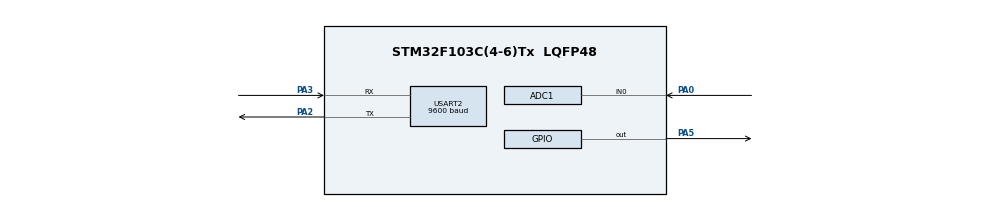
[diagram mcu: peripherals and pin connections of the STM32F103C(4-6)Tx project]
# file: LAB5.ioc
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ADC1.Channel-0\#ChannelRegularConversion=ADC_CHANNEL_0
ADC1.ContinuousConvMode=ENABLE
ADC1.NbrOfConversionFlag=1
ADC1.Rank-0\#ChannelRegularConversion=1
ADC1.SamplingTime-0\#ChannelRegularConversion=ADC_SAMPLETIME_1CYCLE_5
ADC1.master=1
Mcu.Family=STM32F1
Mcu.Name=STM32F103C(4-6)Tx
Mcu.Package=LQFP48
NVIC.PriorityGroup=NVIC_PRIORITYGROUP_4
NVIC.TIM2_IRQn=true\:0\:0\:false\:false\:true\:true\:true
NVIC.USART2_IRQn=true\:0\:0\:false\:false\:true\:true\:true
PA0-WKUP.Signal=ADCx_IN0
PA2.Mode=Asynchronous
PA2.Signal=USART2_TX
PA3.Mode=Asynchronous
PA3.Signal=USART2_RX
PA5.Signal=GPIO_Output
ProjectManager.HeapSize=0x200
ProjectManager.StackSize=0x400
ProjectManager.TargetToolchain=STM32CubeIDE
RCC.APB1Freq_Value=8000000
RCC.APB2Freq_Value=8000000
SH.ADCx_IN0.0=ADC1_IN0,IN0
TIM2.Period=9
TIM2.Prescaler=7999
USART2.BaudRate=9600
USART2.VirtualMode=VM_ASYNC
VP_SYS_VS_ND.Mode=No_Debug
VP_TIM2_VS_ClockSourceINT.Mode=Internal
board=custom

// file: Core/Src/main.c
/* USER CODE BEGIN Header */
/**
 ******************************************************************************
 * @file           : main.c
 * @brief          : Main program body
 ******************************************************************************
 * @attention
 *
 * <h2><center>&copy; Copyright (c) 2021 STMicroelectronics.
 * All rights reserved.</center></h2>
 *
 * This software component is licensed by ST under BSD 3-Clause license,
 * the "License"; You may not use this file except in compliance with the
 * License. You may obtain a copy of the License at:
 *                        opensource.org/licenses/BSD-3-Clause
 *
 ******************************************************************************
 */
/* USER CODE END Header */

/* USER CODE BEGIN Includes */
#include <stdio.h>
#include <stdlib.h>
#include <string.h>
#include "main.h"
#include "timer.h"
#include "command_parser_fsm.h"
#include "uart_communiation_fsm.h"
/* USER CODE END Includes */

ADC_HandleTypeDef hadc1;

TIM_HandleTypeDef htim2;

UART_HandleTypeDef huart2;

void SystemClock_Config(void);
static void MX_GPIO_Init(void);
static void MX_TIM2_Init(void);
static void MX_ADC1_Init(void);
static void MX_USART2_UART_Init(void);

/* USER CODE BEGIN 0 */

uint8_t buffer[MAX_BUFFER_SIZE];
uint8_t index_buffer = 0;
uint8_t buffer_flag = 0;
void HAL_UART_RxCpltCallback(UART_HandleTypeDef *huart) {
	if (huart->Instance == USART2) {
		HAL_UART_Transmit (& huart2 , &temp , 1, 50) ;
		buffer[index_buffer++] = temp;
		if (index_buffer == 30)
			index_buffer = 0;
		buffer_flag = 1;
		HAL_UART_Receive_IT(&huart2, &temp, 1);
	}
}
/* USER CODE END 0 */

int main(void) {

	/* MCU Configuration--------------------------------------------------------*/

	/* Reset of all peripherals, Initializes the Flash interface and the Systick. */
	HAL_Init();

	/* Configure the system clock */
	SystemClock_Config();

	/* Initialize all configured peripherals */
	MX_GPIO_Init();
	MX_TIM2_Init();
	MX_ADC1_Init();
	MX_USART2_UART_Init();
	/* USER CODE BEGIN 2 */
	HAL_TIM_Base_Start_IT(&htim2);
	/* USER CODE END 2 */

	/* Infinite loop */
	/* USER CODE BEGIN WHILE */
	HAL_UART_Receive_IT(&huart2, &temp, 1);
	HAL_ADC_Start(&hadc1);
	setTimerResend(10);
	while (1) {
		/* USER CODE END WHILE */

		/* USER CODE BEGIN 3 */
		if (buffer_flag == 1) {
			command_parser_fsm();
			buffer_flag = 0;
		}
		uart_communiation_fsm();

	}
	/* USER CODE END 3 */
}

void SystemClock_Config(void) {
	RCC_OscInitTypeDef RCC_OscInitStruct = { 0 };
	RCC_ClkInitTypeDef RCC_ClkInitStruct = { 0 };
	RCC_PeriphCLKInitTypeDef PeriphClkInit = { 0 };

	/** Initializes the RCC Oscillators according to the specified parameters
	 * in the RCC_OscInitTypeDef structure.
	 */
	RCC_OscInitStruct.OscillatorType = RCC_OSCILLATORTYPE_HSI;
	RCC_OscInitStruct.HSIState = RCC_HSI_ON;
	RCC_OscInitStruct.HSICalibrationValue = RCC_HSICALIBRATION_DEFAULT;
	RCC_OscInitStruct.PLL.PLLState = RCC_PLL_NONE;
	if (HAL_RCC_OscConfig(&RCC_OscInitStruct) != HAL_OK) {
		Error_Handler();
	}
	/** Initializes the CPU, AHB and APB buses clocks
	 */
	RCC_ClkInitStruct.ClockType = RCC_CLOCKTYPE_HCLK | RCC_CLOCKTYPE_SYSCLK
			| RCC_CLOCKTYPE_PCLK1 | RCC_CLOCKTYPE_PCLK2;
	RCC_ClkInitStruct.SYSCLKSource = RCC_SYSCLKSOURCE_HSI;
	RCC_ClkInitStruct.AHBCLKDivider = RCC_SYSCLK_DIV1;
	RCC_ClkInitStruct.APB1CLKDivider = RCC_HCLK_DIV1;
	RCC_ClkInitStruct.APB2CLKDivider = RCC_HCLK_DIV1;

	if (HAL_RCC_ClockConfig(&RCC_ClkInitStruct, FLASH_LATENCY_0) != HAL_OK) {
		Error_Handler();
	}
	PeriphClkInit.PeriphClockSelection = RCC_PERIPHCLK_ADC;
	PeriphClkInit.AdcClockSelection = RCC_ADCPCLK2_DIV2;
	if (HAL_RCCEx_PeriphCLKConfig(&PeriphClkInit) != HAL_OK) {
		Error_Handler();
	}
}

static void MX_ADC1_Init(void) {

	ADC_ChannelConfTypeDef sConfig = { 0 };

	/** Common config
	 */
	hadc1.Instance = ADC1;
	hadc1.Init.ScanConvMode = ADC_SCAN_DISABLE;
	hadc1.Init.ContinuousConvMode = ENABLE;
	hadc1.Init.DiscontinuousConvMode = DISABLE;
	hadc1.Init.ExternalTrigConv = ADC_SOFTWARE_START;
	hadc1.Init.DataAlign = ADC_DATAALIGN_RIGHT;
	hadc1.Init.NbrOfConversion = 1;
	if (HAL_ADC_Init(&hadc1) != HAL_OK) {
		Error_Handler();
	}
	/** Configure Regular Channel
	 */
	sConfig.Channel = ADC_CHANNEL_0;
	sConfig.Rank = ADC_REGULAR_RANK_1;
	sConfig.SamplingTime = ADC_SAMPLETIME_1CYCLE_5;
	if (HAL_ADC_ConfigChannel(&hadc1, &sConfig) != HAL_OK) {
		Error_Handler();
	}

}

static void MX_TIM2_Init(void) {

	TIM_ClockConfigTypeDef sClockSourceConfig = { 0 };
	TIM_MasterConfigTypeDef sMasterConfig = { 0 };

	htim2.Instance = TIM2;
	htim2.Init.Prescaler = 7999;
	htim2.Init.CounterMode = TIM_COUNTERMODE_UP;
	htim2.Init.Period = 9;
	htim2.Init.ClockDivision = TIM_CLOCKDIVISION_DIV1;
	htim2.Init.AutoReloadPreload = TIM_AUTORELOAD_PRELOAD_DISABLE;
	if (HAL_TIM_Base_Init(&htim2) != HAL_OK) {
		Error_Handler();
	}
	sClockSourceConfig.ClockSource = TIM_CLOCKSOURCE_INTERNAL;
	if (HAL_TIM_ConfigClockSource(&htim2, &sClockSourceConfig) != HAL_OK) {
		Error_Handler();
	}
	sMasterConfig.MasterOutputTrigger = TIM_TRGO_RESET;
	sMasterConfig.MasterSlaveMode = TIM_MASTERSLAVEMODE_DISABLE;
	if (HAL_TIMEx_MasterConfigSynchronization(&htim2, &sMasterConfig)
			!= HAL_OK) {
		Error_Handler();
	}

}

static void MX_USART2_UART_Init(void) {

	huart2.Instance = USART2;
	huart2.Init.BaudRate = 9600;
	huart2.Init.WordLength = UART_WORDLENGTH_8B;
	huart2.Init.StopBits = UART_STOPBITS_1;
	huart2.Init.Parity = UART_PARITY_NONE;
	huart2.Init.Mode = UART_MODE_TX_RX;
	huart2.Init.HwFlowCtl = UART_HWCONTROL_NONE;
	huart2.Init.OverSampling = UART_OVERSAMPLING_16;
	if (HAL_UART_Init(&huart2) != HAL_OK) {
		Error_Handler();
	}

}

static void MX_GPIO_Init(void) {
	GPIO_InitTypeDef GPIO_InitStruct = { 0 };

	/* GPIO Ports Clock Enable */
	__HAL_RCC_GPIOA_CLK_ENABLE();

	/*Configure GPIO pin Output Level */
	HAL_GPIO_WritePin(GPIOA, GPIO_PIN_5, GPIO_PIN_RESET);

	/*Configure GPIO pin : PA5 */
	GPIO_InitStruct.Pin = GPIO_PIN_5;
	GPIO_InitStruct.Mode = GPIO_MODE_OUTPUT_PP;
	GPIO_InitStruct.Pull = GPIO_NOPULL;
	GPIO_InitStruct.Speed = GPIO_SPEED_FREQ_LOW;
	HAL_GPIO_Init(GPIOA, &GPIO_InitStruct);

}

/* USER CODE BEGIN 4 */
void HAL_TIM_PeriodElapsedCallback(TIM_HandleTypeDef *htim) {
	if (htim->Instance == TIM2) {
		timer_run();
	}
}
/* USER CODE END 4 */

void Error_Handler(void) {
	__disable_irq();
	while (1) {
	}
}

/************************ (C) COPYRIGHT STMicroelectronics *****END OF FILE****/
